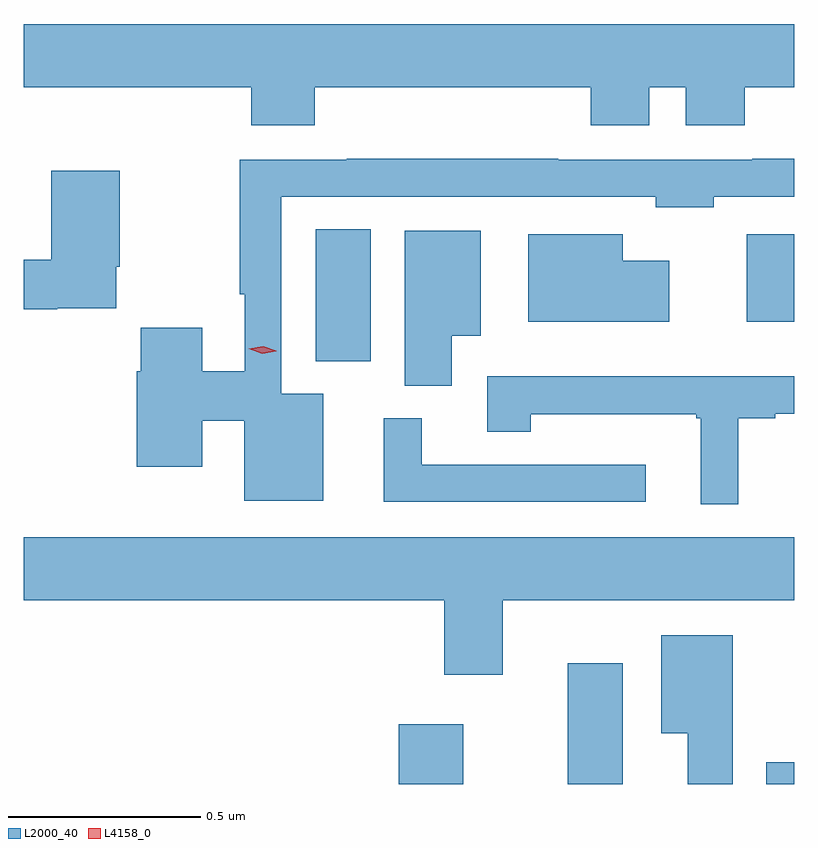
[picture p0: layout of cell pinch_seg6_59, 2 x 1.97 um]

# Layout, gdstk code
import gdstk
lib = gdstk.Library(unit=1e-6, precision=1e-09)
def R(c, l, rs):  # rectangles x0, y0, x1, y1
    for r in rs: c.add(gdstk.rectangle(r[:2], r[2:], *l))
def P(c, l, *ps):  # polygons
    for p in ps: c.add(gdstk.Polygon(p, *l))
L2000_40 = (2000, 40)
L4158_0 = (4158, 0)

pinch_seg6_59 = lib.new_cell('pinch_seg6_59')
R(pinch_seg6_59, L2000_40, [(953.447,950.855,953.614,951.01), (953.885,950.855,954.028,951.169), (954.401,950.855,954.473,950.911), (953.231,951.953,953.374,952.295), (954.35,952.055,954.473,952.282)])
P(pinch_seg6_59, L2000_40, [(953.228,952.664),(953.945,952.664),(953.945,952.565),(954.097,952.565),(954.097,952.664),(954.191,952.664),(954.191,952.565),(954.344,952.565),(954.344,952.664),(954.473,952.664),(954.473,952.828),(952.473,952.828),(952.473,952.664),(953.063,952.664),(953.063,952.565),(953.228,952.565)],
  [(953.251,951.868),(953.142,951.868),(953.142,952.38),(954.114,952.38),(954.114,952.352),(954.264,952.352),(954.264,952.38),(954.473,952.38),(954.473,952.478),(954.364,952.478),(954.364,952.476),(953.861,952.476),(953.861,952.478),(953.311,952.478),(953.311,952.476),(953.034,952.476),(953.034,952.126),(953.046,952.126),(953.046,951.926),(952.936,951.926),(952.936,952.039),(952.776,952.039),(952.776,951.926),(952.766,951.926),(952.766,951.678),(952.936,951.678),(952.936,951.798),(953.045,951.798),(953.045,951.59),(953.251,951.59)],
  [(952.56,952.09),(952.713,952.09),(952.713,952.198),(952.722,952.198),(952.722,952.447),(952.544,952.447),(952.544,952.216),(952.473,952.216),(952.473,952.087),(952.56,952.087)],
  [(953.584,952.019),(953.659,952.019),(953.659,952.291),(953.462,952.291),(953.462,951.889),(953.584,951.889)],
  [(954.148,952.213),(954.028,952.213),(954.028,952.282),(953.783,952.282),(953.783,952.055),(954.148,952.055)],
  [(954.328,951.804),(954.424,951.804),(954.424,951.816),(954.473,951.816),(954.473,951.913),(953.676,951.913),(953.676,951.769),(953.789,951.769),(953.789,951.815),(954.219,951.815),(954.219,951.804),(954.23,951.804),(954.23,951.581),(954.328,951.581)],
  [(954.088,951.684),(953.506,951.684),(953.506,951.804),(953.408,951.804),(953.408,951.588),(954.088,951.588)],
  [(953.716,951.332),(954.473,951.332),(954.473,951.496),(952.473,951.496),(952.473,951.332),(953.564,951.332),(953.564,951.138),(953.716,951.138)],
  [(954.313,951.241),(954.128,951.241),(954.128,950.987),(954.197,950.987),(954.197,950.855),(954.313,950.855)])
P(pinch_seg6_59, L4158_0, [(953.092,951.972),(953.057,951.985),(953.057,951.985),(953.057,951.985),(953.094,951.992),(953.128,951.98),(953.129,951.979),(953.128,951.979)])

lib.write_gds('pinch_seg6_59.gds')
